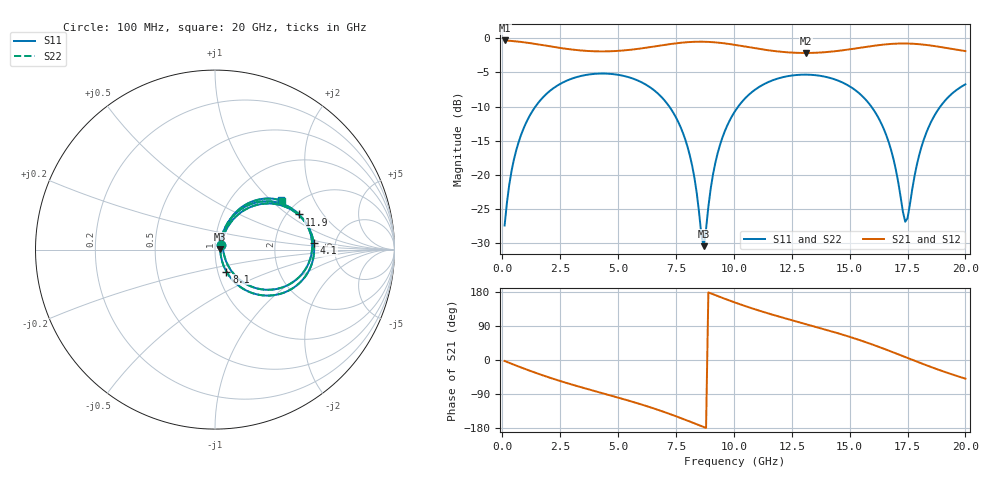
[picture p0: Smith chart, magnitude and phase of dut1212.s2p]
! Touchstone file exported from HFSS 2026.1.0
!  File:  C:/ffzhzh/LocalFiles/Ansys_Project_Files/temp_train_TSV_RDL_1212_1783319907_38820.aedt
!  Generated:  02:52:15 PM Jul  6, 2026
!  Design:  TSV_RDL
!  Project:  temp_train_TSV_RDL_1212_1783319907_38820
! Variables:
!  h_bsmrdl = 3.66um
!  h_ox = 20um
!  h_rdl = 5um
!  h_sub = 54.04um
!  h_tmrdl = 3.24um
!  h_tsv = 54.04um
!  h_via = 3um
!  l_bsmrdl = 896.63um
!  l_sub = 7134.91um
!  l_tmrdl = 979.95um
!  m_sub = 200um
!  pitch = 49.14um
!  r_tsv = 13.76um
!  s_tmrdl = 10um
!  w_bsmrdl = 21.5um
!  w_sub = 500um
!  w_tmrdl = 20.24um
!  x_tsv_center1 = 990.07um
!  x_tsv_center2 = 1908.2um
!  x_tsv_center3 = 2908.39um
!  x_tsv_center4 = 3826.52um
!  x_tsv_center5 = 4826.71um
!  x_tsv_center6 = 5744.84um
# GHz S MA R 50.000000
! Terminal data exported
! Port[1] = TM_RDL1_1_T1
! Port[2] = TM_RDL5_1_T1
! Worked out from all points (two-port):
!   200 points, 100 MHz to 20 GHz, reference 50 ohm
!   highest |S21| = -0.30 dB at 100 MHz (marker M1); lowest = -2.1 dB at 13.1 GHz (marker M2)
!   |S21| within 3 dB of the highest: start of sweep to end of sweep
!   lowest |S11| = -30.5 dB at 8.7 GHz (marker M3), VSWR 1.06, Z = 53 + j0.423 ohm
!   |S11| at or under -10 dB: start of sweep to 1.433 GHz; 7.212 GHz to 10.19 GHz (2.978 GHz wide, 34.2 % of centre); 15.94 GHz to 18.92 GHz (2.981 GHz wide, 17.1 % of centre)
!   |S22| runs from -30.6 to -5.2 dB; largest |S21 - S12| = 2.2e-14
!   S11 on the Smith chart (normalised r, x): 100 MHz: 1.07, +0.05; 4.1 GHz: 3.41, +0.37; 8.1 GHz: 1.10, -0.28; 11.9 GHz: 2.31, +1.22; 20 GHz: 1.67, +1.16
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0.1  0.04234 36.0  0.9665 -2.6  0.9665 -2.6  0.04234 36.0
! Gamma 0 0 0 0
! Port Impedance 50 0 50 0
0.5  0.1287 60.7  0.9549 -12.4  0.9549 -12.4  0.1287 60.7
1.1  0.2546 55.0  0.9291 -26.3  0.9291 -26.3  0.2546 55.0
2.2  0.4302 35.8  0.8674 -49.6  0.8674 -49.6  0.4302 35.8
3.5  0.535 13.7  0.8133 -73.5  0.8133 -73.5  0.5351 13.6
4.1  0.5512 3.9  0.8038 -83.8  0.8038 -83.8  0.5512 3.9
5.4  0.5227 -17.2  0.8211 -106.2  0.8211 -106.2  0.5227 -17.2
6.8  0.3826 -42.0  0.8856 -133.1  0.8856 -133.1  0.3827 -42.0
7.6  0.2435 -56.5  0.9251 -150.7  0.9251 -150.7  0.2436 -56.6
8.1  0.1383 -62.5  0.9413 -162.4  0.9413 -162.4  0.1384 -62.6
8.7  0.02985 7.7  0.9458 -176.9  0.9458 -176.9  0.02953 7.5
9.2  0.122 65.4  0.9358 171.1  0.9358 171.1  0.1218 65.5
10.1  0.3009 54.0  0.8941 150.6  0.8941 150.6  0.3008 54.0
11.9  0.5078 22.7  0.8028 115.5  0.8028 115.5  0.5077 22.7
13.1  0.5424 3.6  0.7822 94.9  0.7822 94.9  0.5422 3.7
13.4  0.5398 -1.0  0.7836 89.8  0.7836 89.8  0.5397 -1.0
15.4  0.3974 -33.9  0.8514 53.2  0.8514 53.2  0.3973 -33.8
16.7  0.1707 -52.5  0.9091 24.6  0.9091 24.6  0.1708 -52.2
17.4  0.04514 -1.9  0.9183 7.8  0.9183 7.8  0.04606 -1.6
18  0.1383 63.7  0.9075 -6.5  0.9075 -6.5  0.1387 63.3
18.4  0.2207 62.0  0.892 -15.9  0.892 -15.9  0.221 61.7
20  0.4604 36.5  0.8076 -49.2  0.8076 -49.2  0.4605 36.3
